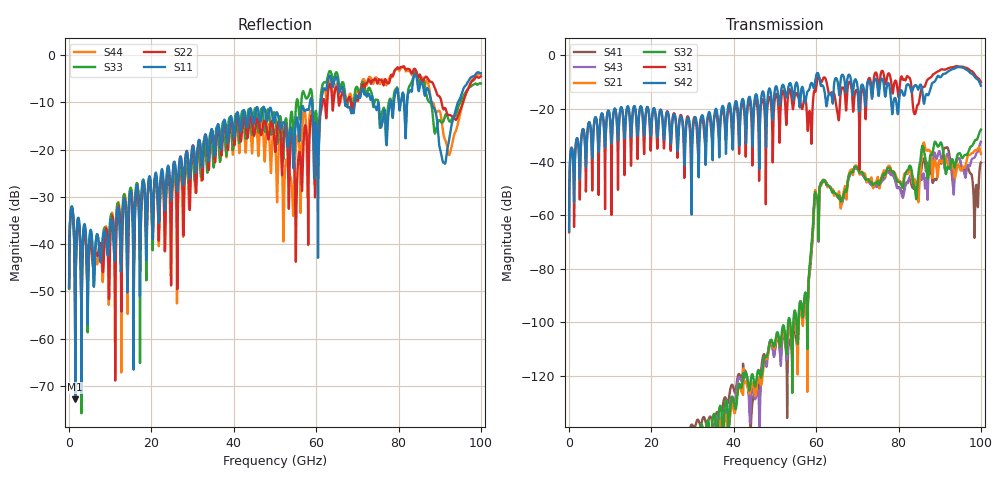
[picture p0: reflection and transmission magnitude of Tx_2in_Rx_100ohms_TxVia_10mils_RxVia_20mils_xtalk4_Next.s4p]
! Info: Touchstone file created by Circ.  Input file=Tx_2in_Rx_100ohms_TxVia_10mils_RxVia_20mils.circ
# Hz S RI R 50
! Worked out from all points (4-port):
!   10000 points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, 10 MHz to 100 GHz, reference 50 ohm
!   strongest paths, dB at 10 MHz, 25.01 GHz, 50.01 GHz, 75.01 GHz, 100 GHz:
!     S42: -65.9, -26.4, -12.7, -13.8, -11.4
!     S31: -66.3, -25.6, -15.9, -10.3, -10.1
!     S32: -, -153.6, -107.6, -47.4, -27.9
!     S21: -, -157.6, -108.8, -45.8, -37.0
!     S43: -155.2, -150.5, -110.3, -49.2, -32.4
!     S41: -154.5, -151.1, -110.3, -48.3, -40.2
!   lowest |S11| = -72.8 dB at 1.5 GHz (marker M1), VSWR 1.00, Z = 50 - j0.019 ohm
!   |S11| at or under -10 dB: start of sweep to 58.49 GHz; 75.13 GHz to 77.96 GHz (2.835 GHz wide, 3.7 % of centre); 88.02 GHz to 94.41 GHz (6.391 GHz wide, 7.01 % of centre)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
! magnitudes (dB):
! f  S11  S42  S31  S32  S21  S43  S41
! 10 MHz  -49.3  -65.9  -66.3  -  -  -155.2  -154.5
! 1.5 GHz  -72.8  -36.2  -36.3  -193.9  -199.3  -  -
! 57.89 GHz  -11.5  -13.7  -27.0  -110.1  -104.3  -94.6  -96.5
! 61.59 GHz  -7.5  -11.4  -9.0  -47.0  -46.8  -47.4  -47.4
! 84.01 GHz  -4.0  -11.3  -22.0  -50.3  -46.8  -47.9  -49.9
! 91.06 GHz  -22.8  -7.0  -5.4  -38.0  -38.7  -40.8  -34.9
! 100 GHz  -3.8  -11.4  -10.1  -27.9  -37.0  -32.4  -40.2
